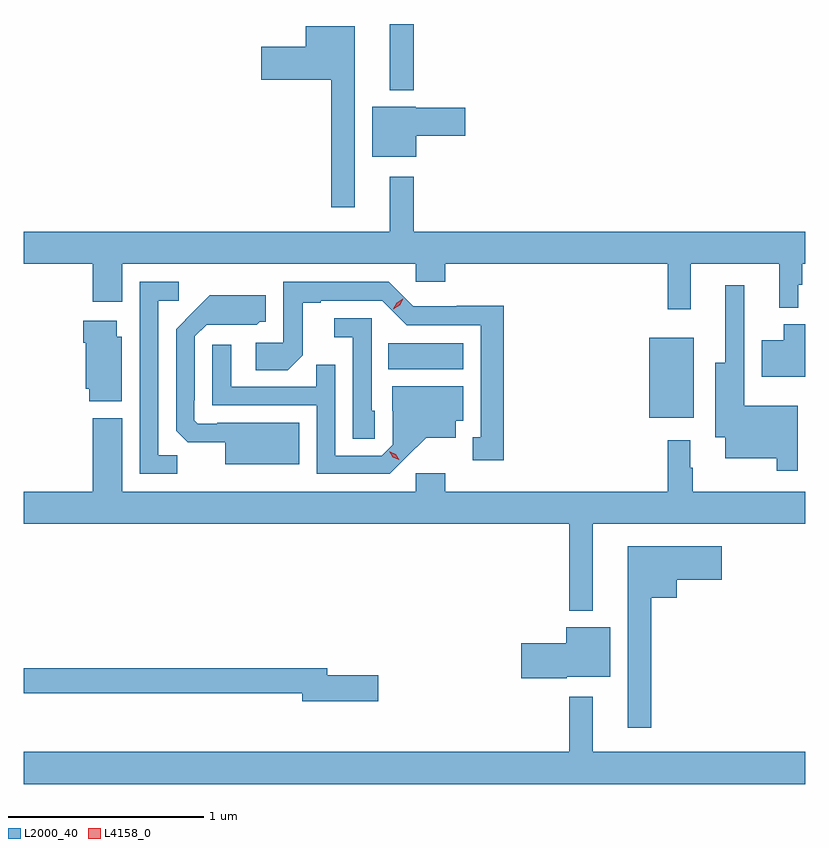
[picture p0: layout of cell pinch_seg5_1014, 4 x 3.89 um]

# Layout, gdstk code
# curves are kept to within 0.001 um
import gdstk
lib = gdstk.Library(unit=1e-6, precision=1e-09)
def R(c, l, rs):  # rectangles x0, y0, x1, y1
    for r in rs: c.add(gdstk.rectangle(r[:2], r[2:], *l))
def P(c, l, *ps):  # polygons
    for p in ps: c.add(gdstk.Polygon(p, *l))
L2000_40 = (2000, 40)
L4158_0 = (4158, 0)

pinch_seg5_1014 = lib.new_cell('pinch_seg5_1014')
R(pinch_seg5_1014, L2000_40, [(714.128,839.987,714.355,840.397), (712.792,840.236,713.176,840.37), (712.799,841.664,712.921,842.004)])
P(pinch_seg5_1014, L2000_40, [(712.621,841.993),(712.37,841.993),(712.37,841.888),(712.14,841.888),(712.14,841.718),(712.5,841.718),(712.5,841.065),(712.621,841.065)],
  [(712.936,841.432),(713.185,841.432),(713.185,841.574),(712.932,841.574),(712.932,841.579),(712.709,841.579),(712.709,841.325),(712.936,841.325)],
  [(714.341,840.776),(714.794,840.776),(714.794,840.551),(714.891,840.551),(714.891,840.669),(714.911,840.669),(714.911,840.776),(714.926,840.776),(714.926,840.94),(712.921,840.94),(712.921,841.222),(712.799,841.222),(712.799,840.94),(710.926,840.94),(710.926,840.776),(711.278,840.776),(711.278,840.582),(711.43,840.582),(711.43,840.776),(712.932,840.776),(712.932,840.683),(713.084,840.683),(713.084,840.776),(714.223,840.776),(714.223,840.543),(714.341,840.543)],
  [(713.383,840.56),(713.142,840.56),(713.142,840.558),(712.92,840.558),(712.794,840.684),(712.254,840.684),(712.254,840.372),(712.113,840.372),(712.113,840.232),(712.277,840.232),(712.353,840.308),(712.353,840.576),(712.447,840.576),(712.447,840.588),(712.761,840.588),(712.887,840.462),(713.264,840.462),(713.264,839.889),(713.225,839.889),(713.225,839.769),(713.383,839.769)],
  [(711.711,839.795),(711.615,839.795),(711.615,840.588),(711.718,840.588),(711.718,840.684),(711.519,840.684),(711.519,839.7),(711.711,839.7)],
  [(714.888,840.049),(714.615,840.049),(714.615,840.667),(714.518,840.667),(714.518,840.268),(714.467,840.268),(714.467,839.888),(714.518,839.888),(714.518,839.78),(714.78,839.78),(714.78,839.715),(714.888,839.715)],
  [(712.336,839.962),(711.916,839.962),(711.916,839.958),(711.816,839.958),(711.798,839.976),(711.798,840.076),(711.801,840.076),(711.801,840.405),(711.861,840.465),(712.118,840.464),(712.134,840.48),(712.165,840.48),(712.165,840.616),(711.877,840.616),(711.705,840.442),(711.705,839.92),(711.764,839.861),(711.956,839.861),(711.956,839.75),(712.336,839.75)],
  [(712.722,840.024),(712.707,840.024),(712.707,840.498),(712.515,840.498),(712.515,840.401),(712.611,840.401),(712.611,839.881),(712.722,839.881)],
  [(711.427,840.402),(711.4,840.402),(711.4,840.484),(711.23,840.484),(711.23,840.371),(711.242,840.371),(711.242,840.135),(711.26,840.135),(711.26,840.071),(711.427,840.071)],
  [(714.926,840.466),(714.818,840.466),(714.818,840.385),(714.704,840.385),(714.704,840.197),(714.926,840.197)],
  [(712.882,839.783),(712.985,839.885),(713.137,839.885),(713.137,839.972),(713.176,839.972),(713.176,840.148),(712.811,840.148),(712.811,840.024),(712.815,840.024),(712.815,839.85),(712.758,839.793),(712.521,839.793),(712.521,840.26),(712.423,840.26),(712.423,840.147),(711.987,840.147),(711.987,840.361),(711.891,840.361),(711.891,840.051),(712.425,840.051),(712.425,839.7),(712.798,839.7)],
  [(713.839,839.444),(714.926,839.444),(714.926,839.608),(714.352,839.608),(714.352,839.732),(714.339,839.732),(714.339,839.872),(714.223,839.872),(714.223,839.608),(713.084,839.608),(713.084,839.704),(712.932,839.704),(712.932,839.608),(711.43,839.608),(711.43,839.986),(711.278,839.986),(711.278,839.608),(710.926,839.608),(710.926,839.444),(713.718,839.444),(713.718,839),(713.839,839)],
  [(714.139,839.066),(714.268,839.066),(714.268,839.159),(714.499,839.159),(714.499,839.329),(714.017,839.329),(714.017,838.401),(714.139,838.401)],
  [(713.706,838.661),(713.929,838.661),(713.929,838.915),(713.702,838.915),(713.702,838.832),(713.472,838.832),(713.472,838.654),(713.706,838.654)],
  [(712.741,838.67),(712.48,838.67),(712.48,838.706),(710.926,838.706),(710.926,838.578),(712.352,838.578),(712.352,838.535),(712.741,838.535)],
  [(714.926,838.276),(713.839,838.276),(713.839,838.558),(713.718,838.558),(713.718,838.276),(710.926,838.276),(710.926,838.112),(714.926,838.112)])
P(pinch_seg5_1014, L4158_0, [(712.846,839.772),(712.815,839.786),(712.797,839.816),(712.797,839.816),(712.797,839.816),(712.829,839.801),(712.847,839.772),(712.847,839.772)],
  [(712.818,840.544),(712.818,840.545),(712.836,840.577),(712.867,840.596),(712.868,840.596),(712.868,840.596),(712.85,840.563),(712.818,840.544)])

lib.write_gds('pinch_seg5_1014.gds')
